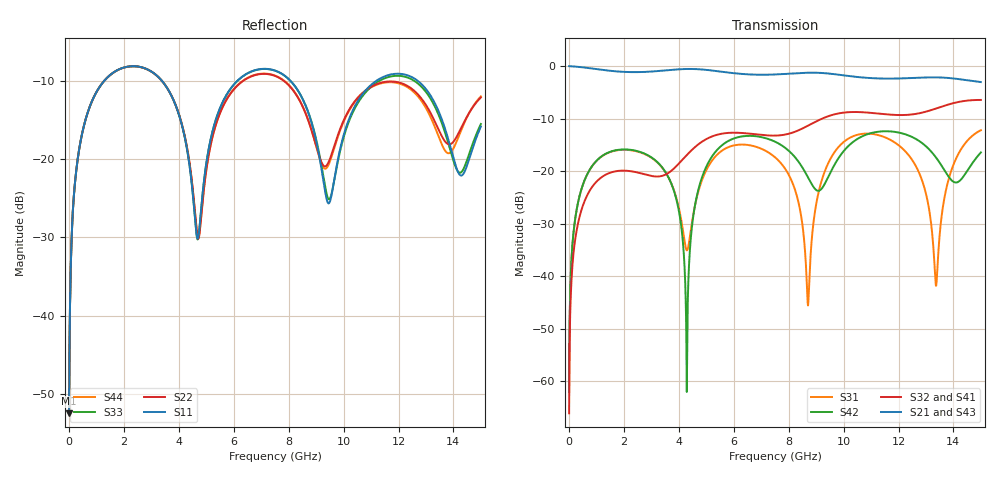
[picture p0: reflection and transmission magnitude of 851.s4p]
! Created with skrf 1.8.0 (http://scikit-rf.org).
# GHz S RI R 50.0
!freq ReS11 ImS11 ReS12 ImS12 ReS13 ImS13
! ReS14 ImS14
! ReS21 ImS21 ReS22 ImS22 ReS23 ImS23
! ReS24 ImS24
! ReS31 ImS31 ReS32 ImS32 ReS33 ImS33
! ReS34 ImS34
! ReS41 ImS41 ReS42 ImS42 ReS43 ImS43
! ReS44 ImS44
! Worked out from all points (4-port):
!   2499 points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, 5 MHz to 15 GHz, reference 50 ohm
!   strongest paths, dB at 5 MHz, 3.476 GHz, 7.19 GHz, 11.1 GHz, 15 GHz:
!     S21: 0.0, -0.8, -1.6, -2.3, -3.0
!     S43: 0.0, -0.8, -1.6, -2.3, -3.1
!     S32: -66.1, -20.7, -13.2, -9.0, -6.4
!     S41: -66.1, -20.8, -13.3, -9.0, -6.5
!     S42: -62.1, -19.9, -13.8, -12.6, -16.4
!     S31: -62.1, -19.9, -16.2, -13.0, -12.2
!   lowest |S11| = -52.4 dB at 5 MHz (marker M1), VSWR 1.00, Z = 50.2 + j0.145 ohm
!   |S11| at or under -10 dB: 3.381 GHz to 6.136 GHz (2.755 GHz wide, 57.9 % of centre); 8.06 GHz to 11.2 GHz (3.139 GHz wide, 32.6 % of centre); 12.69 GHz to end of sweep (the widest 3 of 4)
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0.005  0.00191 0.00144  0.9981 -0.00371  9.75e-05 0.000781  -9.45e-05 -0.000486
       0.9981 -0.00371  0.00191 0.00144  -9.45e-05 -0.000486  9.75e-05 0.000781
       9.75e-05 0.000781  -9.45e-05 -0.000486  0.00191 0.00144  0.9981 -0.00371
       -9.45e-05 -0.000486  9.75e-05 0.000781  0.9981 -0.00371  0.00191 0.00144
1.369321  0.2784 0.1732  0.5312 -0.7386  0.1332 0.0624  -0.0933 -0.00321
          0.5312 -0.7386  0.2775 0.1738  -0.0934 -0.00306  0.1353 0.0596
          0.1332 0.0624  -0.0934 -0.00306  0.2783 0.1732  0.5312 -0.7386
          -0.0933 -0.00321  0.1353 0.0596  0.5312 -0.7386  0.2776 0.1737
4.289287  0.0574 -0.1036  -0.8775 -0.3325  -0.017 -0.00487  -0.0471 0.1342
          -0.8775 -0.3325  0.0593 -0.1057  -0.0453 0.1348  0.00079 3.15e-05
          -0.017 -0.00487  -0.0453 0.1348  0.0572 -0.1032  -0.8776 -0.3325
          -0.0471 0.1342  0.00079 3.15e-05  -0.8776 -0.3325  0.0593 -0.1053
5.464777  0.1395 0.149  -0.7981 0.3935  0.0899 0.1189  0.1288 0.1831
          -0.7981 0.3935  0.1267 0.1407  0.1315 0.1819  0.1371 0.0943
          0.0899 0.1189  0.1315 0.1819  0.1386 0.1495  -0.7981 0.3933
          0.1288 0.1831  0.1371 0.0943  -0.7981 0.3933  0.1281 0.141
9.47895  0.0525 -0.000736  0.8422 0.0997  0.0334 0.1203  0.0342 -0.3345
         0.8422 0.0997  0.0943 0.0261  0.0249 -0.335  -0.0205 0.0899
         0.0334 0.1203  0.0249 -0.335  0.0553 -0.00449  0.8422 0.1017
         0.0342 -0.3345  -0.0205 0.0899  0.8422 0.1017  0.0912 0.0237
13.36807  0.159 -0.1509  -0.5443 -0.5603  0.00763 0.00274  -0.2797 0.2769
          -0.5443 -0.5603  0.1528 -0.0673  -0.2671 0.2905  -0.0717 -0.1139
          0.00763 0.00274  -0.2671 0.2905  0.156 -0.1383  -0.5465 -0.5615
          -0.2797 0.2769  -0.0717 -0.1139  -0.5465 -0.5615  0.1378 -0.0669
15  0.1402 0.0795  -0.6758 0.1989  0.1947 0.1491  0.1785 0.4408
    -0.6758 0.1989  0.2326 0.0833  0.1977 0.4331  0.1149 0.0972
    0.1947 0.1491  0.1977 0.4331  0.1455 0.083  -0.6747 0.1985
    0.1785 0.4408  0.1149 0.0972  -0.6747 0.1985  0.2309 0.099
